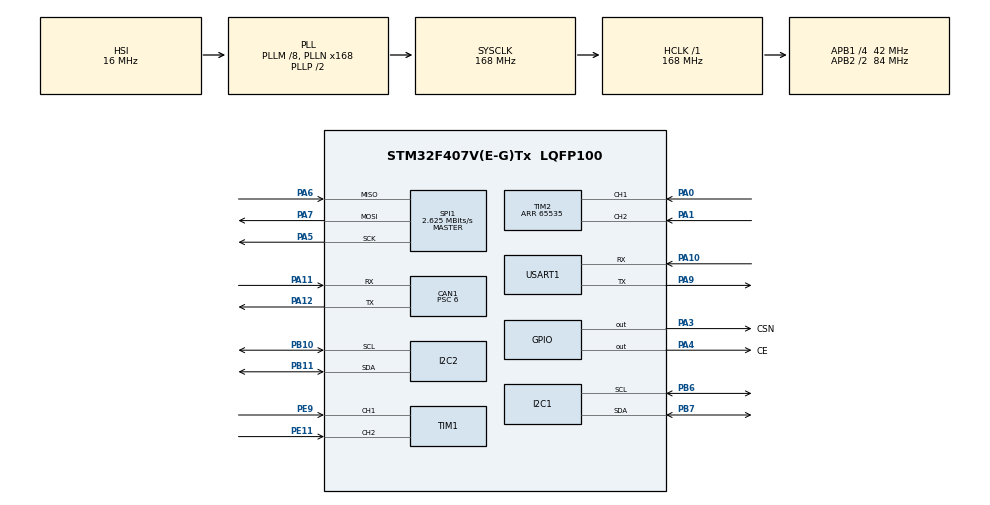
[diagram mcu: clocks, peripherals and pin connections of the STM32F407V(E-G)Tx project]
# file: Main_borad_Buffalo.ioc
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CAN1.BS1=CAN_BS1_4TQ
CAN1.BS2=CAN_BS2_2TQ
CAN1.CalculateBaudRate=1000000
CAN1.CalculateTimeBit=1000
CAN1.CalculateTimeQuantum=142.85714285714286
CAN1.Prescaler=6
FREERTOS.Tasks01=Position_Task,0,2200,Position_Init,Default,NULL,Dynamic,NULL,NULL;NRF_Task,-3,1400,NRF_Init,Default,NULL,Dynamic,NULL,NULL
I2C1.I2C_Mode=I2C_Fast
I2C2.I2C_Mode=I2C_Fast
Mcu.Family=STM32F4
Mcu.Name=STM32F407V(E-G)Tx
Mcu.Package=LQFP100
NVIC.CAN1_RX0_IRQn=true\:5\:0\:false\:false\:true\:true\:true\:true\:true
NVIC.PriorityGroup=NVIC_PRIORITYGROUP_4
NVIC.TIM1_BRK_TIM9_IRQn=true\:5\:0\:false\:false\:true\:true\:true\:true\:true
NVIC.TIM3_IRQn=true\:5\:0\:false\:false\:true\:true\:true\:true\:true
NVIC.TIM6_DAC_IRQn=true\:15\:0\:false\:false\:true\:false\:false\:true\:true
NVIC.TimeBase=TIM6_DAC_IRQn
NVIC.TimeBaseIP=TIM6
PA0-WKUP.Signal=S_TIM2_CH1_ETR
PA1.Signal=S_TIM2_CH2
PA10.Mode=Asynchronous
PA10.Signal=USART1_RX
PA11.Mode=CAN_Activate
PA11.Signal=CAN1_RX
PA12.Mode=CAN_Activate
PA12.Signal=CAN1_TX
PA13.Mode=Serial_Wire
PA13.Signal=SYS_JTMS-SWDIO
PA14.Mode=Serial_Wire
PA14.Signal=SYS_JTCK-SWCLK
PA3.GPIO_Label=CSN
PA3.Signal=GPIO_Output
PA4.GPIO_Label=CE
PA4.Signal=GPIO_Output
PA5.Mode=Full_Duplex_Master
PA5.Signal=SPI1_SCK
PA6.Mode=Full_Duplex_Master
PA6.Signal=SPI1_MISO
PA7.Mode=Full_Duplex_Master
PA7.Signal=SPI1_MOSI
PA9.Mode=Asynchronous
PA9.Signal=USART1_TX
PB10.Mode=I2C
PB10.Signal=I2C2_SCL
PB11.Mode=I2C
PB11.Signal=I2C2_SDA
PB6.Mode=I2C
PB6.Signal=I2C1_SCL
PB7.Mode=I2C
PB7.Signal=I2C1_SDA
PE11.Signal=S_TIM1_CH2
PE9.Signal=S_TIM1_CH1
PH0-OSC_IN.Mode=HSE-External-Oscillator
PH0-OSC_IN.Signal=RCC_OSC_IN
PH1-OSC_OUT.Mode=HSE-External-Oscillator
PH1-OSC_OUT.Signal=RCC_OSC_OUT
ProjectManager.HeapSize=0x200
ProjectManager.StackSize=0x400
ProjectManager.TargetToolchain=STM32CubeIDE
RCC.48MHZClocksFreq_Value=84000000
RCC.AHBFreq_Value=168000000
RCC.APB1CLKDivider=RCC_HCLK_DIV4
RCC.APB1Freq_Value=42000000
RCC.APB1TimFreq_Value=84000000
RCC.APB2CLKDivider=RCC_HCLK_DIV2
RCC.APB2Freq_Value=84000000
RCC.APB2TimFreq_Value=168000000
RCC.CortexFreq_Value=168000000
RCC.HCLKFreq_Value=168000000
RCC.HSE_VALUE=25000000
RCC.HSI_VALUE=16000000
RCC.LSE_VALUE=32768
RCC.PLLM=8
RCC.PLLN=168
RCC.SYSCLKFreq_VALUE=168000000
RCC.SYSCLKSource=RCC_SYSCLKSOURCE_PLLCLK
RCC.VCOOutputFreq_Value=336000000
SH.S_TIM1_CH1.0=TIM1_CH1,Encoder_Interface
SH.S_TIM1_CH2.0=TIM1_CH2,Encoder_Interface
SH.S_TIM2_CH1_ETR.0=TIM2_CH1,Encoder_Interface
SH.S_TIM2_CH2.0=TIM2_CH2,Encoder_Interface
SPI1.BaudRatePrescaler=SPI_BAUDRATEPRESCALER_32
SPI1.CalculateBaudRate=2.625 MBits/s
SPI1.Direction=SPI_DIRECTION_2LINES
SPI1.Mode=SPI_MODE_MASTER
SPI1.VirtualType=VM_MASTER
STMicroelectronics.X-CUBE-ALGOBUILD.1.3.0.LibraryCcDSPOoLibraryJjDSPOoLibrary=true
TIM1.AutoReloadPreload=TIM_AUTORELOAD_PRELOAD_ENABLE
TIM1.EncoderMode=TIM_ENCODERMODE_TI12
TIM1.IC2Polarity=TIM_ICPOLARITY_RISING
TIM2.AutoReloadPreload=TIM_AUTORELOAD_PRELOAD_ENABLE
TIM2.EncoderMode=TIM_ENCODERMODE_TI12
TIM2.IC2Polarity=TIM_ICPOLARITY_RISING
TIM2.Period=65535
TIM3.AutoReloadPreload=TIM_AUTORELOAD_PRELOAD_ENABLE
TIM3.Period=9999
TIM3.Prescaler=83
TIM9.AutoReloadPreload=TIM_AUTORELOAD_PRELOAD_ENABLE
TIM9.Period=9999
TIM9.Prescaler=167
USART1.VirtualMode=VM_ASYNC
VP_FREERTOS_VS_CMSIS_V1.Mode=CMSIS_V1
VP_STMicroelectronics.X-CUBE-ALGOBUILD_VS_DSPOoLibraryJjLibrary_1.3.0_1.3.0.Mode=DSPOoLibraryJjLibrary
VP_SYS_VS_tim6.Mode=TIM6
VP_TIM3_VS_ClockSourceINT.Mode=Internal
VP_TIM9_VS_ClockSourceINT.Mode=Internal
board=custom

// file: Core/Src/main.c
/* USER CODE BEGIN Header */
/**
  ******************************************************************************
  * @file           : main.c
  * @brief          : Main program body
  ******************************************************************************
  * @attention
  *
  * Copyright (c) 2024 STMicroelectronics.
  * All rights reserved.
  *
  * This software is licensed under terms that can be found in the LICENSE file
  * in the root directory of this software component.
  * If no LICENSE file comes with this software, it is provided AS-IS.
  *
  ******************************************************************************
  */
/* USER CODE END Header */
#include "main.h"
#include "cmsis_os.h"
#include "can.h"
#include "i2c.h"
#include "spi.h"
#include "tim.h"
#include "usart.h"
#include "gpio.h"

/* USER CODE BEGIN PTD */
CAN_RxHeaderTypeDef RxHeader;
CAN_TxHeaderTypeDef TxHeader;
#define Rotary1 0
#define Rotary2 1
/* USER CODE END PTD */

/* USER CODE BEGIN PV */
//----------CAN----------------//
uint8_t TxData[8];
uint32_t TxMailbox;
uint16_t V1_out = 0;
uint16_t V2_out = 0;
uint16_t V3_out = 0;
uint16_t V4_out = 0;

uint8_t RxData[8];
//uint8_t TxData[8];
//uint32_t TxMailbox;
float RxData1 = 0;
float RxData2 = 0;
float RxData3 = 0;
float RxData4 = 0;
float V1 = 0; // target speed of motor1
float V2 = 0; // target speed of motor2
float V3 = 0; // target speed of motor1
float V4 = 0; // target speed of motor2

uint8_t datacheck = 0;
uint8_t cntt;
float V_back;
float V1_back;
float V2_back;
float V3_back;
float V4_back;
//NRF
extern float Speed;
extern float Vx;
extern float Vy;
extern float Omega;
//Varible to read Encoder
float v;
uint8_t nowA[4];
uint8_t nowB[4];
uint8_t lastA[4];
uint8_t lastB[4];
uint8_t dir[4];
uint16_t cnt[4];
uint16_t Enc_count[4];

/* USER CODE END PV */

void SystemClock_Config(void);
void MX_FREERTOS_Init(void);
/* USER CODE BEGIN PFP */
float map(float Input, float Min_Input , float Max_Input ,float Min_Output, float Max_Output){

	return (float) ((Input - Min_Input) * (Max_Output - Min_Output) / (Max_Input - Min_Input) + Min_Output);
}

void HAL_CAN_RxFifo0MsgPendingCallback(CAN_HandleTypeDef *hcan) {
	HAL_CAN_GetRxMessage(hcan, CAN_RX_FIFO0, &RxHeader, RxData);
	cntt++;
	while (cntt - 100 > 0) {
		//HAL_GPIO_TogglePin(GPIOC, GPIO_PIN_13);
		cntt = 0;
	}

	if (RxHeader.StdId == 0x215) {
			RxData1 = (RxData[0] << 8) | RxData[1];
			RxData2 = (RxData[2] << 8) | RxData[3];
			V1_back = map(RxData1, 0, 65535, -30.0, 30.0);
			V2_back = map(RxData2, 0, 65535, -30.0, 30.0);
			datacheck = 1;
	}
	else if (RxHeader.StdId == 0x211) {
			RxData3 = (RxData[0] << 8) | RxData[1];
			RxData4 = (RxData[2] << 8) | RxData[3];
			V3_back = map(RxData3, 0, 65535, -30.0, 30.0);
			V4_back = map(RxData4, 0, 65535, -30.0, 30.0);
			datacheck = 1;
	}
}

float encoder(int i)
{
	if (nowA[i] != lastA[i])
	{
		lastA[i] = nowA[i];
		if (lastA[i] == 0)
		{
			if (nowB[i] == 0)
			{
				dir[i] = 0;
				cnt[i]--;
			}
			else
			{
				dir[i] = 1;
				cnt[i]++;
			}
		}
		else
		{
			if (nowB[i] == 1)
			{
				dir[i] = 0;
				cnt[i]--;
			}
			else
			{
				dir[i] = 1;
				cnt[i]++;
			}
		}
	}
	if (nowB[i] != lastB[i])
	{
		lastB[i] = nowB[i];
		if (lastB[i] == 0)
		{
			if (nowA[i] == 1)
			{
				dir[i] = 0;
				cnt[i]--;
			}
			else
			{
				dir[i] = 1;
				cnt[i]++;
			}
		}
		else
		{
			if (nowA[i] == 0)
			{
				dir[i] = 0;
				cnt[i]--;
			}
			else
			{
				dir[i] = 1;
				cnt[i]++;
			}
		}
	}
	return cnt[i];
}

/* USER CODE END PFP */

int main(void)
{

  /* MCU Configuration--------------------------------------------------------*/

  /* Reset of all peripherals, Initializes the Flash interface and the Systick. */
  HAL_Init();

  /* Configure the system clock */
  SystemClock_Config();

  /* Initialize all configured peripherals */
  MX_GPIO_Init();
  MX_CAN1_Init();
  MX_I2C1_Init();
  MX_I2C2_Init();
  MX_SPI1_Init();
  MX_TIM3_Init();
  MX_USART1_UART_Init();
  MX_TIM1_Init();
  MX_TIM2_Init();
  MX_TIM9_Init();
  /* USER CODE BEGIN 2 */
  // CAN _Transmition
	HAL_CAN_Start(&hcan1);
	HAL_CAN_ActivateNotification(&hcan1, CAN_IT_RX_FIFO0_MSG_PENDING);
	TxHeader.DLC = 8; // data length
	TxHeader.IDE = CAN_ID_STD;
	TxHeader.RTR = CAN_RTR_DATA;
	TxHeader.StdId = 0x407; //Id 0x7FF
	// TIMER Internal clock
	HAL_TIM_Base_Start_IT(&htim3);
	HAL_TIM_Base_Start_IT(&htim9);
  /* USER CODE END 2 */

  /* Call init function for freertos objects (in freertos.c) */
  MX_FREERTOS_Init();

  /* Start scheduler */
  osKernelStart();
  /* We should never get here as control is now taken by the scheduler */
  /* Infinite loop */
  while (1)
  {

  }
}

void SystemClock_Config(void)
{
  RCC_OscInitTypeDef RCC_OscInitStruct = {0};
  RCC_ClkInitTypeDef RCC_ClkInitStruct = {0};

  /** Configure the main internal regulator output voltage
  */
  __HAL_RCC_PWR_CLK_ENABLE();
  __HAL_PWR_VOLTAGESCALING_CONFIG(PWR_REGULATOR_VOLTAGE_SCALE1);

  /** Initializes the RCC Oscillators according to the specified parameters
  * in the RCC_OscInitTypeDef structure.
  */
  RCC_OscInitStruct.OscillatorType = RCC_OSCILLATORTYPE_HSI;
  RCC_OscInitStruct.HSIState = RCC_HSI_ON;
  RCC_OscInitStruct.HSICalibrationValue = RCC_HSICALIBRATION_DEFAULT;
  RCC_OscInitStruct.PLL.PLLState = RCC_PLL_ON;
  RCC_OscInitStruct.PLL.PLLSource = RCC_PLLSOURCE_HSI;
  RCC_OscInitStruct.PLL.PLLM = 8;
  RCC_OscInitStruct.PLL.PLLN = 168;
  RCC_OscInitStruct.PLL.PLLP = RCC_PLLP_DIV2;
  RCC_OscInitStruct.PLL.PLLQ = 4;
  if (HAL_RCC_OscConfig(&RCC_OscInitStruct) != HAL_OK)
  {
    Error_Handler();
  }

  /** Initializes the CPU, AHB and APB buses clocks
  */
  RCC_ClkInitStruct.ClockType = RCC_CLOCKTYPE_HCLK|RCC_CLOCKTYPE_SYSCLK
                              |RCC_CLOCKTYPE_PCLK1|RCC_CLOCKTYPE_PCLK2;
  RCC_ClkInitStruct.SYSCLKSource = RCC_SYSCLKSOURCE_PLLCLK;
  RCC_ClkInitStruct.AHBCLKDivider = RCC_SYSCLK_DIV1;
  RCC_ClkInitStruct.APB1CLKDivider = RCC_HCLK_DIV4;
  RCC_ClkInitStruct.APB2CLKDivider = RCC_HCLK_DIV2;

  if (HAL_RCC_ClockConfig(&RCC_ClkInitStruct, FLASH_LATENCY_5) != HAL_OK)
  {
    Error_Handler();
  }
}

/* USER CODE BEGIN 4 */
//void HAL_GPIO_EXTI_Callback(uint16_t GPIO_Pin)
//{
//	if (GPIO_Pin == E1_C1_Pin || E1_C2_Pin)
//	{ // ENCODER Motor 1
//		nowA[0] = HAL_GPIO_ReadPin(E1_C1_GPIO_Port, E1_C1_Pin);
//		nowB[0] = HAL_GPIO_ReadPin(E1_C2_GPIO_Port, E1_C2_Pin);
//		Enc_count[0] = encoder(0);
//
//	}
//	if (GPIO_Pin == E2_C1_Pin || E2_C2_Pin)
//	{
//		nowA[1] = HAL_GPIO_ReadPin(E2_C1_GPIO_Port, E2_C1_Pin);
//		nowB[1] = HAL_GPIO_ReadPin(E2_C2_GPIO_Port, E2_C2_Pin);
//		Enc_count[1] = encoder(1);
//	}
//
//}
/* USER CODE END 4 */

void HAL_TIM_PeriodElapsedCallback(TIM_HandleTypeDef *htim)
{
  /* USER CODE BEGIN Callback 0 */
	if (htim->Instance == TIM3) {

		V1_out = map(Vx, -2.0, 2.0, 0, 65535);
		V2_out = map(Vy, -2.0, 2.0, 0, 65535);
		V3_out = map(Omega, -3.14, 3.14, 0, 65535);
		V4_out = map(Speed, 0.0, 2.0, 0, 65535);
		TxData[0] = ((V1_out & 0xFF00) >> 8);
		TxData[1] = (V1_out & 0x00FF);
		TxData[2] = ((V2_out & 0xFF00) >> 8);
		TxData[3] = (V2_out & 0x00FF);
		TxData[4] = ((V3_out & 0xFF00) >> 8);
		TxData[5] = (V3_out & 0x00FF);
		TxData[6] = ((V4_out & 0xFF00) >> 8);
		TxData[7] = (V4_out & 0x00FF);
		HAL_CAN_AddTxMessage(&hcan1, &TxHeader, TxData, &TxMailbox);
		}
  /* USER CODE END Callback 0 */
  if (htim->Instance == TIM6) {
    HAL_IncTick();
  }
}

void Error_Handler(void)
{
  __disable_irq();
  while (1)
  {
  }
}

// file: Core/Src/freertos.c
/* USER CODE BEGIN Header */
/**
  ******************************************************************************
  * File Name          : freertos.c
  * Description        : Code for freertos applications
  ******************************************************************************
  * @attention
  *
  * Copyright (c) 2024 STMicroelectronics.
  * All rights reserved.
  *
  * This software is licensed under terms that can be found in the LICENSE file
  * in the root directory of this software component.
  * If no LICENSE file comes with this software, it is provided AS-IS.
  *
  ******************************************************************************
  */
/* USER CODE END Header */

#include "FreeRTOS.h"
#include "task.h"
#include "main.h"
#include "cmsis_os.h"

/* USER CODE BEGIN Includes */
#include "tim.h"
#include "nrf.h"
#include "spi.h"
#include "bno055.h"
#include "bno055_stm32.h"
#include "PID_Position.h"
#include "Mecanum.h"
//#include "EKF.h"
#include "math.h"
#include "fonts.h"
#include "ssd1306.h"
/* USER CODE END Includes */

/* USER CODE BEGIN PTD */
Mecanum mec;
PIDController pid;
typedef struct {
	double Roll;
	double Pitch;
	double Yaw;
}Rotation;

typedef struct{
	uint32_t counter;
	uint32_t new_counter;
	uint8_t counter_status;
	float speed;
	float rdps;
	double distant;
}Encoder;

Encoder encoder0;
Encoder encoder1;

Rotation Angle;
bno055_vector_t V;
bno055_vector_t Q;
/* USER CODE END PTD */

/* USER CODE BEGIN PD */
#define PI 3.1456
#define r 0.03 //[Radius m]
#define D 2*0.025  //[Diameter m]
#define CPR_X 1442
#define CPR_Y 1442
#define C   2*PI*r //[circumference  C=2*Pi*R]
#define sampling_time  10 //[10ms]
#define dt 0.01
#define Rotary1 0
#define Rotary2 1
//Wheel
#define R 0.05
#define lx 0.165  //m
#define ly 0.225  //m
#define d1 0.05
#define d2 0.15
#define X 0
#define Y 1
#define YAW 2

// Gain X
#define Kp_X 1.5
#define Ki_X 0.002
#define Kd_X 0.02
// Gain Y
#define Kp_Y 1.5
#define Ki_Y 0.002
#define Kd_Y 0.02
// Gain Yaw
#define Kp_Yaw 1.0
#define Ki_Yaw 0.001
#define Kd_Yaw 0.02
/* USER CODE END PD */

/* USER CODE BEGIN Variables */
//------------------------------uart-functions--------------------------------------
volatile extern int flag;
volatile int flag = 0 ;
uint64_t RxpipeAddrs = 0x11223344BB;
const void* myAckPayload ;
int input_num = 0 ;
char input_data[32] ;
char c1;
char* c = &c1;
char c2;
char* c3 = &c2;
uint64_t TxpipeAddrs = 0x11223344AA;
char myTxData[32];
char AckPayload[32];
char myRxData[50];
float Speed;
float Vx;
float Vy;
float Omega;
float X_Start = 0.0;
float Y_Start = 0.0;
float Yaw_Start = 0.0;
//float X = 0.0;
//float Y = 0.0;
//float Yaw = 0.0;
float theta;

float X_end = 0.0;
float Y_end = 0.0;
float Yaw_end = 0.0;
float X_next = 0.0;
float Y_next = 0.0;
float Yaw_next = 0.0;

float Output_Vx;
float Output_Vy;
float Output_Omega;
float vx;
float vy;
float vyaw;
float VxM;
float VyM;
float VyawM;
extern float V1_back;
extern float V2_back;
extern float V3_back;
extern float V4_back;

//Variable of Calculate Position Robot from Rotary encoder wheel
extern float rdps[2];
float output_Vx;
float output_Vy;
float output_Omega;
float W1;
float W2;
float theta;
float Vx_enR;
float Vy_enR;
float Vyaw_IMU;
float X_old_enR;
float Y_old_enR;
float Yaw_old_IMU;
float yaw_old_enR;
float X_enR;
float Y_enR;
float Yaw_IMU = 0.0;
float yaw_enR;
float wheel_velocity_encoder[2];
float P_enR[3];
float old_count[2];
extern uint16_t Enc_count[2];
extern uint8_t dir[4];
uint16_t count[2]; // count pulse from encoder
uint16_t new_count[2];
uint8_t count_state[2];
uint16_t diff[2]; // difference between count and new_count in a sample time
float speed_rotary[2];
float rdps[2];
double position;

// IMU
float Radian;
double sinr_cosp;
double cosr_cosp;
double sinp;
double siny_cosp;
double cosy_cosp;
float  Heading;
float Heading_old;
float dyaw;
double previous_heading =0.0;
float heading;
double angle; // Angle in degrees
double radians;

//OLED
char XRum[10];
char YRum[10];
char Ium[10];
int X_R;
int Y_R;
int Yaw_R;
int Yaw_I;
int X_r;
int Y_r;
int Yaw_i;
int yaw_i;
uint8_t mode;

/* USER CODE END Variables */
osThreadId Position_TaskHandle;
osThreadId NRF_TaskHandle;

/* USER CODE BEGIN FunctionPrototypes */

float Map(float Input, float Min_Input , float Max_Input ,float Min_Output, float Max_Output){

	return (float) ((Input - Min_Input) * (Max_Output - Min_Output) / (Max_Input - Min_Input) + Min_Output);
}

float Speed_encoder(int i, float sample_time, float CPR)
{
	new_count[i] = Enc_count[i];
	wheel_velocity_encoder[i] = 2.0 *PI * r*(new_count[i] - old_count[i]) / (CPR * sample_time);
	old_count[i] = new_count[i];
	return wheel_velocity_encoder[i];
}

void read_encoder(Encoder *enc, TIM_HandleTypeDef* timer){
	enc->new_counter = __HAL_TIM_GET_COUNTER(timer);
	enc->counter_status = __HAL_TIM_IS_TIM_COUNTING_DOWN(timer);
	int16_t count_change = enc->new_counter - enc->counter;
	if(enc->counter_status && count_change <0){
		count_change += 65536;
	}else if (!enc->counter_status && count_change > 0){
		count_change -= 65536;
	}
	enc->counter = enc->new_counter;
	enc->counter_status = (count_change >=0);
	enc->speed = (float)count_change*1000.0f/(CPR_X * sampling_time);
	enc->rdps = (float)count_change*2*PI*1000.0f/(CPR_X * sampling_time);
}
void ReceiveMode(void){

	if (NRF24_available()) {
		NRF24_read(myRxData, 32);

		NRF24_writeAckPayload(1, myAckPayload, 32);
		myRxData[32] = '\r';
		myRxData[32 + 1] = '\n';

	}
}
/* USER CODE END FunctionPrototypes */

void Position_Init(void const * argument);
void NRF_Init(void const * argument);

void MX_FREERTOS_Init(void); /* (MISRA C 2004 rule 8.1) */

/* GetIdleTaskMemory prototype (linked to static allocation support) */
void vApplicationGetIdleTaskMemory( StaticTask_t **ppxIdleTaskTCBBuffer, StackType_t **ppxIdleTaskStackBuffer, uint32_t *pulIdleTaskStackSize );

/* USER CODE BEGIN GET_IDLE_TASK_MEMORY */
static StaticTask_t xIdleTaskTCBBuffer;
static StackType_t xIdleStack[configMINIMAL_STACK_SIZE];

void vApplicationGetIdleTaskMemory( StaticTask_t **ppxIdleTaskTCBBuffer, StackType_t **ppxIdleTaskStackBuffer, uint32_t *pulIdleTaskStackSize )
{
  *ppxIdleTaskTCBBuffer = &xIdleTaskTCBBuffer;
  *ppxIdleTaskStackBuffer = &xIdleStack[0];
  *pulIdleTaskStackSize = configMINIMAL_STACK_SIZE;
  /* place for user code */
}
/* USER CODE END GET_IDLE_TASK_MEMORY */

void MX_FREERTOS_Init(void) {

  /* Create the thread(s) */
  /* definition and creation of Position_Task */
  osThreadDef(Position_Task, Position_Init, osPriorityNormal, 0, 2200);
  Position_TaskHandle = osThreadCreate(osThread(Position_Task), NULL);

  /* definition and creation of NRF_Task */
  osThreadDef(NRF_Task, NRF_Init, osPriorityIdle, 0, 1400);
  NRF_TaskHandle = osThreadCreate(osThread(NRF_Task), NULL);

}

void Position_Init(void const * argument)
{
  /* USER CODE BEGIN Position_Init */
	//PID_Controller
	PID_Position_Init(&pid, 3);
	pid.limMax = 1.5;
	pid.limMin = -1.5;
	pid.limMaxInt = 1.5;
	pid.limMinInt = -1.5;
	pid.T = dt;
	pid.alpha = 0.8;

	//Sensor Feed_back
//	Mecanum_Init(&mec, r, lx, ly);
	bno055_assignI2C(&hi2c1);
	bno055_setup();
	bno055_setOperationModeNDOF();
	HAL_TIM_Encoder_Start(&htim1, TIM_CHANNEL_ALL);
	HAL_TIM_Encoder_Start(&htim2, TIM_CHANNEL_ALL);
//	SSD1306_Init();
//	SSD1306_GotoXY(10, 10); // goto 10, 10
//	SSD1306_Puts("mode:", &Font_7x10, 1); //
//	SSD1306_GotoXY(80, 10); //
//	SSD1306_Puts("cm.", &Font_7x10, 1); //
//	SSD1306_GotoXY(10, 30);
//	SSD1306_Puts("Y:", &Font_7x10, 1);
//	SSD1306_GotoXY(80, 30); //
//	SSD1306_Puts("cm.", &Font_7x10, 1); //
//	SSD1306_GotoXY(10, 50);
//	SSD1306_Puts("Yaw:", &Font_7x10, 1);
//	SSD1306_GotoXY(80, 50); //
//	SSD1306_Puts("rd.", &Font_7x10, 1); //
//	SSD1306_UpdateScreen();
  /* Infinite loop */
  for(;;)
  {
	  //*** Calculate PID ******//
		Output_Vx = PID_Position(&pid, X_end, X_enR, Kp_X, Ki_X, Kd_X, X);
		Output_Vy = PID_Position(&pid, Y_end, Y_enR, Kp_Y, Ki_Y, Kd_Y, Y);
		Output_Omega = PID_Position(&pid, Yaw_end, theta, Kp_Yaw, Ki_Yaw,Kd_Yaw, YAW);
		Vx = Output_Vx * cos(theta) - Output_Vy * sin(theta);
		Vy = Output_Vx * sin(theta) + Output_Vy * cos(theta);
		Omega = Output_Omega;
//		if (mode == 1 ){
//			Vx = vx;
//			Vy = vy;
//			Omega = vyaw;
//
//		}
//		else if (mode == 0)
//		{
//			Vx = VxM;
//			Vy = VyM;
//			Omega = VyawM;
//		}

	//**** Position From Rotary encoder and IMU   *****//

		// Qauternion_to_Euler(Angle);
		Q = bno055_getVectorQuaternion();
		// yaw (z-axis rotation)
		siny_cosp = 2 * (Q.w * Q.z + Q.x * Q.y);
		cosy_cosp = 1 - 2 * (Q.y * Q.y + Q.z * Q.z);
		Angle.Yaw = atan2(siny_cosp, cosy_cosp);
		theta = Angle.Yaw; // [radians]
		// Encoder Feedback
		read_encoder(&encoder0, &htim1);
		read_encoder(&encoder1, &htim2);
		W1 = (double)encoder1.rdps*r;
		W2 = (double)encoder0.rdps*r;
		Vx_enR = W1 * cosf(theta) - W2 * sinf(theta);
		Vy_enR = W1 * sinf(theta) + W2 * cosf(theta);
		X_enR = X_old_enR + Vx_enR * dt;
		Y_enR = Y_old_enR + Vy_enR * dt;

		X_old_enR = X_enR;
		Y_old_enR = Y_enR;

		//OLED
//		X_R = X_enR*10 ; //[cm]
//		Y_R = Y_enR*10 ; //[cm]
//		Yaw_I = theta*10 ;
//
//		itoa(mode, XRum, 10);
//		itoa(Y_R, YRum, 10);
//		itoa(Yaw_I, Ium, 10);
//
//
//		SSD1306_GotoXY(50, 10);
//		SSD1306_Puts(XRum, &Font_7x10, 1); // print Hello
//		SSD1306_GotoXY(50, 30);
//		SSD1306_Puts(YRum, &Font_7x10, 1);
//		SSD1306_GotoXY(50, 50);
//		SSD1306_Puts(Ium, &Font_7x10, 1);
//		SSD1306_UpdateScreen();
    osDelay(10);
  }
  /* USER CODE END Position_Init */
}

void NRF_Init(void const * argument)
{
  /* USER CODE BEGIN NRF_Init */
	//-----------------------------nrf-startup----------------------------------
	NRF24_begin(GPIOA, GPIOA, GPIO_PIN_3, GPIO_PIN_4, hspi1);
	//-----------------------------Rx-setting----------------------------------
	NRF24_setAutoAck(true);
	NRF24_setChannel(52);
	NRF24_setPayloadSize(32);
	NRF24_openReadingPipe(1, RxpipeAddrs);
	NRF24_enableDynamicPayloads();
	NRF24_enableAckPayload();
	NRF24_startListening();
  /* Infinite loop */
  for(;;)
  {
	  ReceiveMode();

	  /** Manual ***/
//	  Speed = myRxData[3];
//		if (myRxData[0] == 20) {
//
//			VxM = 0.8 + (Speed / 10.0);
//		} else if (myRxData[0] == 10) {
//			VxM = -(0.8 + (Speed / 10));
//		} else {
//			VxM = 0;
//		}
//		if (myRxData[1] == 20) {
//
//			VyM = (0.8 + (Speed / 10));
//		} else if (myRxData[1] == 10) {
//			VyM = -(0.8 + (Speed / 10));
//		} else {
//			VyM = 0;
//		}
//		if (myRxData[2] == 20) {
//
//			VyawM = 1.57 + (Speed / 10);
//		} else if (myRxData[2] == 10) {
//			VyawM = -(1.57 + (Speed / 10));
//		} else {
//			VyawM = 0;
//		}

		/**** Auto ***********/
		if (myRxData[4] == 10) { // goal 1
			X_Start = X_enR;
			Y_Start = Y_enR;
			Yaw_Start = theta;
			X_end = 6.05;
			Y_end = 0.0;
			Yaw_end = 0.0;
		}
		if (myRxData[5] == 20) { // goal2
			X_Start = X_enR;
			Y_Start = Y_enR;
			Yaw_Start = theta;
			X_end = 6.05;
			Y_end = -3.8;
			Yaw_end = 0.0;
		}
		if (myRxData[6] == 30) { // goal3
			X_Start = X_enR;
			Y_Start = Y_enR;
			Yaw_Start = theta;
			X_end = 9.0;
			Y_end = -3.8;
			Yaw_end = 0.0;
		}
		if (myRxData[7] == 40) { // goal 4
			X_Start = X_enR;
			Y_Start = Y_enR;
			Yaw_Start = theta;
			X_end = 10.0;
			Y_end = -1.2;
			Yaw_end = 0.8;
		}
		if (myRxData[8] == 50) // back (0,0,0)
		{
			X_Start = X_enR;
			Y_Start = Y_enR;
			Yaw_Start = theta;
			X_end = 0.0;
			Y_end = 0.0;
			Yaw_end = 0.0;
		}
//		if (myRxData[9] == 0)
//		{
//			mode = 0;
//		}
//		if (myRxData[9] == 1)
//		{
//			mode = 1;
//		}

    osDelay(20);
  }
  /* USER CODE END NRF_Init */
}
